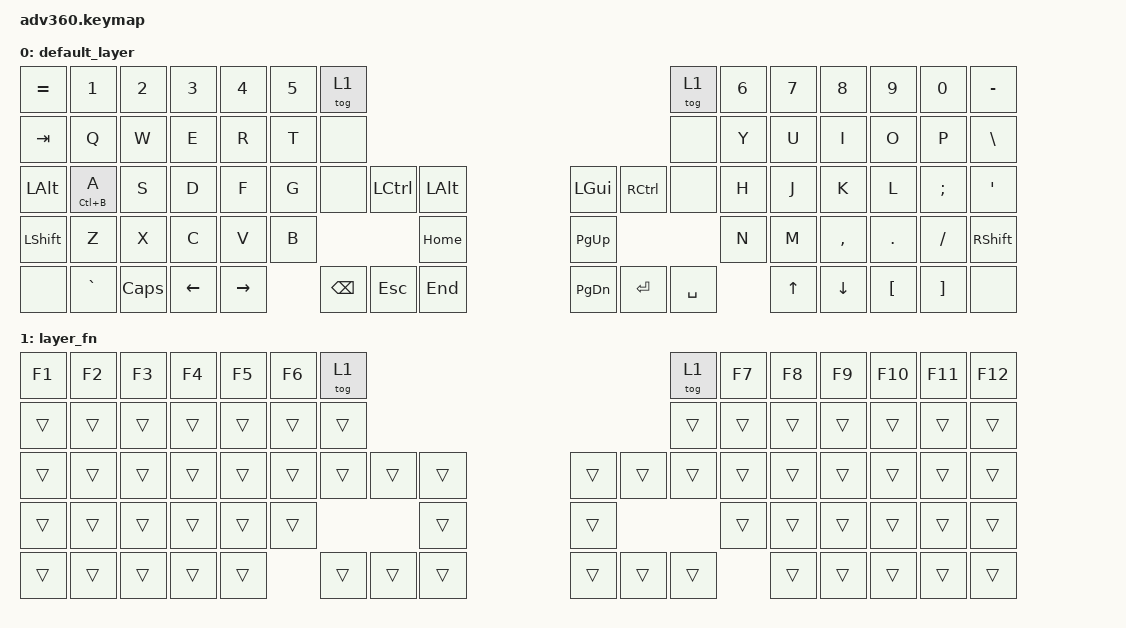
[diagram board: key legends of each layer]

/*
 * Copyright (c) 2020 The ZMK Contributors
 *
 * SPDX-License-Identifier: MIT
 */


/* THIS FILE WAS GENERATED!
 *
 * This file was generated automatically. You may or may not want to
 * edit it directly.
 */

#include <behaviors.dtsi>
#include <dt-bindings/zmk/keys.h>

/ {
  behaviors {
    #include "macros.dtsi"
    #include "version.dtsi"

    hm: homerow_mods {
        compatible = "zmk,behavior-hold-tap";
        label = "HOMEROW_MODS";
        #binding-cells = <2>;
        tapping-term-ms = <200>;
        quick_tap_ms = <175>;
        flavor = "tap-preferred";
        bindings = <&kp>, <&kp>;
    };
  };

    keymap {
        compatible = "zmk,keymap";


        default_layer {
            bindings = <
    &kp EQUAL       &kp N1    &kp N2    &kp N3     &kp N4  &kp N5              &tog 1                                                                &tog 1  &kp N6  &kp N7     &kp N8    &kp N9    &kp N0  &kp MINUS
      &kp TAB        &kp Q     &kp W     &kp E      &kp R   &kp T               &none                                                                 &none   &kp Y   &kp U      &kp I     &kp O     &kp P   &kp BSLH
 &kp LEFT_ALT  &hm LC(B) A     &kp S     &kp D      &kp F   &kp G               &none  &kp LCTRL  &kp LALT                   &kp LGUI  &kp RCTRL      &none   &kp H   &kp J      &kp K     &kp L  &kp SEMI    &kp SQT
    &kp LSHFT        &kp Z     &kp X     &kp C      &kp V   &kp B                                 &kp HOME                  &kp PG_UP                         &kp N   &kp M  &kp COMMA   &kp DOT  &kp FSLH  &kp RSHFT
        &none    &kp GRAVE  &kp CAPS  &kp LEFT  &kp RIGHT                    &kp BSPC    &kp ESC   &kp END                  &kp PG_DN  &kp ENTER  &kp SPACE          &kp UP   &kp DOWN  &kp LBKT  &kp RBKT      &none
            >;
        };

        layer_fn {
            bindings = <
 &kp F1  &kp F2  &kp F3  &kp F4  &kp F5  &kp F6            &tog 1                                                  &tog 1  &kp F7  &kp F8  &kp F9  &kp F10  &kp F11  &kp F12
 &trans  &trans  &trans  &trans  &trans  &trans            &trans                                                  &trans  &trans  &trans  &trans   &trans   &trans   &trans
 &trans  &trans  &trans  &trans  &trans  &trans            &trans  &trans  &trans                  &trans  &trans  &trans  &trans  &trans  &trans   &trans   &trans   &trans
 &trans  &trans  &trans  &trans  &trans  &trans                            &trans                  &trans                  &trans  &trans  &trans   &trans   &trans   &trans
 &trans  &trans  &trans  &trans  &trans                    &trans  &trans  &trans                  &trans  &trans  &trans          &trans  &trans   &trans   &trans   &trans
            >;
        };

    };
};
